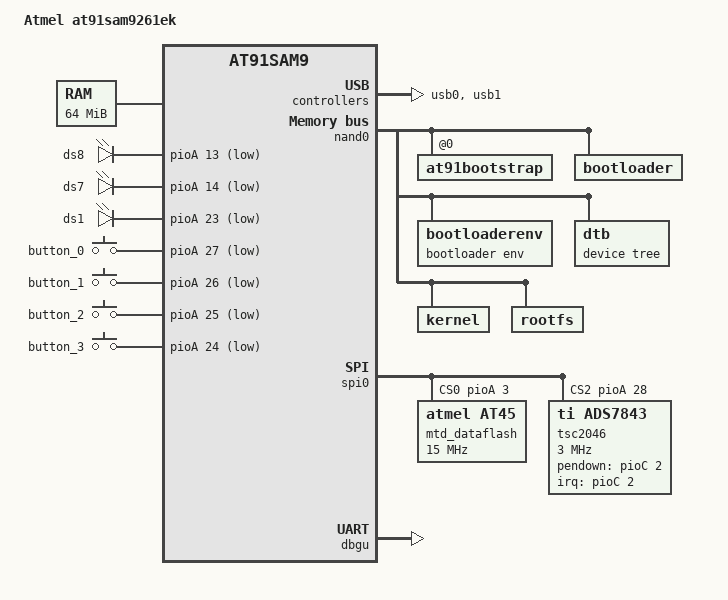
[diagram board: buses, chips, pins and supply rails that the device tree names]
/*
 * at91sam9261ek.dts - Device Tree file for Atmel at91sam9261 reference board
 *
 *  Copyright (C) 2013 Jean-Jacques Hiblot <jjhiblot@traphandler.com>
 *
 * Licensed under GPLv2 only.
 */
/dts-v1/;
#include "at91sam9261.dtsi"

/ {
	model = "Atmel at91sam9261ek";
	compatible = "atmel,at91sam9261ek", "atmel,at91sam9261", "atmel,at91sam9";

	chosen {
		bootargs = "rootfstype=ubifs ubi.mtd=5 root=ubi0:rootfs rw";
		stdout-path = "serial0:115200n8";
	};

	memory {
		reg = <0x20000000 0x4000000>;
	};

	clocks {
		#address-cells = <1>;
		#size-cells = <1>;
		ranges;

		main_clock: clock@0 {
			compatible = "atmel,osc", "fixed-clock";
			clock-frequency = <18432000>;
		};

		slow_xtal {
			clock-frequency = <32768>;
		};

		main_xtal {
			clock-frequency = <18432000>;
		};
	};

	ahb {
		usb0: ohci@00500000 {
			status = "okay";
		};

		fb0: fb@0x00600000 {
			display = <&display0>;
			atmel,power-control-gpio = <&pioA 12 GPIO_ACTIVE_LOW>;
			status = "okay";

			display0: display {
				bits-per-pixel = <16>;
				atmel,lcdcon-backlight;
				atmel,dmacon = <0x1>;
				atmel,lcdcon2 = <0x80008002>;
				atmel,guard-time = <1>;
				atmel,lcd-wiring-mode = "BRG";

				display-timings {
					native-mode = <&timing0>;
					timing0: timing0 {
						clock-frequency = <4965000>;
						hactive = <240>;
						vactive = <320>;
						hback-porch = <1>;
						hfront-porch = <33>;
						vback-porch = <1>;
						vfront-porch = <0>;
						hsync-len = <5>;
						vsync-len = <1>;
						hsync-active = <1>;
						vsync-active = <1>;
					};
				};
			};
		};

		nand0: nand@40000000 {
			nand-bus-width = <8>;
			nand-ecc-mode = "soft";
			nand-on-flash-bbt;
			status = "okay";

			at91bootstrap@0 {
				label = "at91bootstrap";
				reg = <0x0 0x40000>;
			};

			bootloader@40000 {
				label = "bootloader";
				reg = <0x40000 0x80000>;
			};

			bootloaderenv@c0000 {
				label = "bootloader env";
				reg = <0xc0000 0xc0000>;
			};

			dtb@180000 {
				label = "device tree";
				reg = <0x180000 0x80000>;
			};

			kernel@200000 {
				label = "kernel";
				reg = <0x200000 0x600000>;
			};

			rootfs@800000 {
				label = "rootfs";
				reg = <0x800000 0x0f800000>;
			};
		};

		apb {
			usb1: gadget@fffa4000 {
				atmel,vbus-gpio = <&pioB 29 GPIO_ACTIVE_HIGH>;
				status = "okay";
			};

			spi0: spi@fffc8000 {
				cs-gpios = <&pioA 3 0>, <0>, <&pioA 28 0>, <0>;
				status = "okay";

				mtd_dataflash@0 {
					compatible = "atmel,at45", "atmel,dataflash";
					reg = <0>;
					spi-max-frequency = <15000000>;
				};

				tsc2046@0 {
					reg = <2>;
					compatible = "ti,ads7843";
					interrupts-extended = <&pioC 2 IRQ_TYPE_EDGE_BOTH>;
					spi-max-frequency = <3000000>;
					pendown-gpio = <&pioC 2 GPIO_ACTIVE_HIGH>;

					ti,x-min = /bits/ 16 <150>;
					ti,x-max = /bits/ 16 <3830>;
					ti,y-min = /bits/ 16 <190>;
					ti,y-max = /bits/ 16 <3830>;
					ti,vref-delay-usecs = /bits/ 16 <450>;
					ti,x-plate-ohms = /bits/ 16 <450>;
					ti,y-plate-ohms = /bits/ 16 <250>;
					ti,pressure-max = /bits/ 16 <15000>;
					ti,debounce-rep = /bits/ 16 <0>;
					ti,debounce-tol = /bits/ 16 <65535>;
					ti,debounce-max = /bits/ 16 <1>;

					linux,wakeup;
				};
			};

			dbgu: serial@fffff200 {
				status = "okay";
			};

			watchdog@fffffd40 {
				status = "okay";
			};

		};
	};

	leds {
		compatible = "gpio-leds";

		ds8 {
			label = "ds8";
			gpios = <&pioA 13 GPIO_ACTIVE_LOW>;
			linux,default-trigger = "none";
		};

		ds7 {
			label = "ds7";
			gpios = <&pioA 14 GPIO_ACTIVE_LOW>;
			linux,default-trigger = "nand-disk";
		};

		ds1 {
			label = "ds1";
			gpios = <&pioA 23 GPIO_ACTIVE_LOW>;
			linux,default-trigger = "heartbeat";
		};
	};

	gpio_keys {
		compatible = "gpio-keys";

		button_0 {
			label = "button_0";
			gpios = <&pioA 27 GPIO_ACTIVE_LOW>;
			linux,code = <256>;
			gpio-key,wakeup;
		};

		button_1 {
			label = "button_1";
			gpios = <&pioA 26 GPIO_ACTIVE_LOW>;
			linux,code = <257>;
			gpio-key,wakeup;
		};

		button_2 {
			label = "button_2";
			gpios = <&pioA 25 GPIO_ACTIVE_LOW>;
			linux,code = <258>;
			gpio-key,wakeup;
		};

		button_3 {
			label = "button_3";
			gpios = <&pioA 24 GPIO_ACTIVE_LOW>;
			linux,code = <259>;
			gpio-key,wakeup;
		};
	};
};
